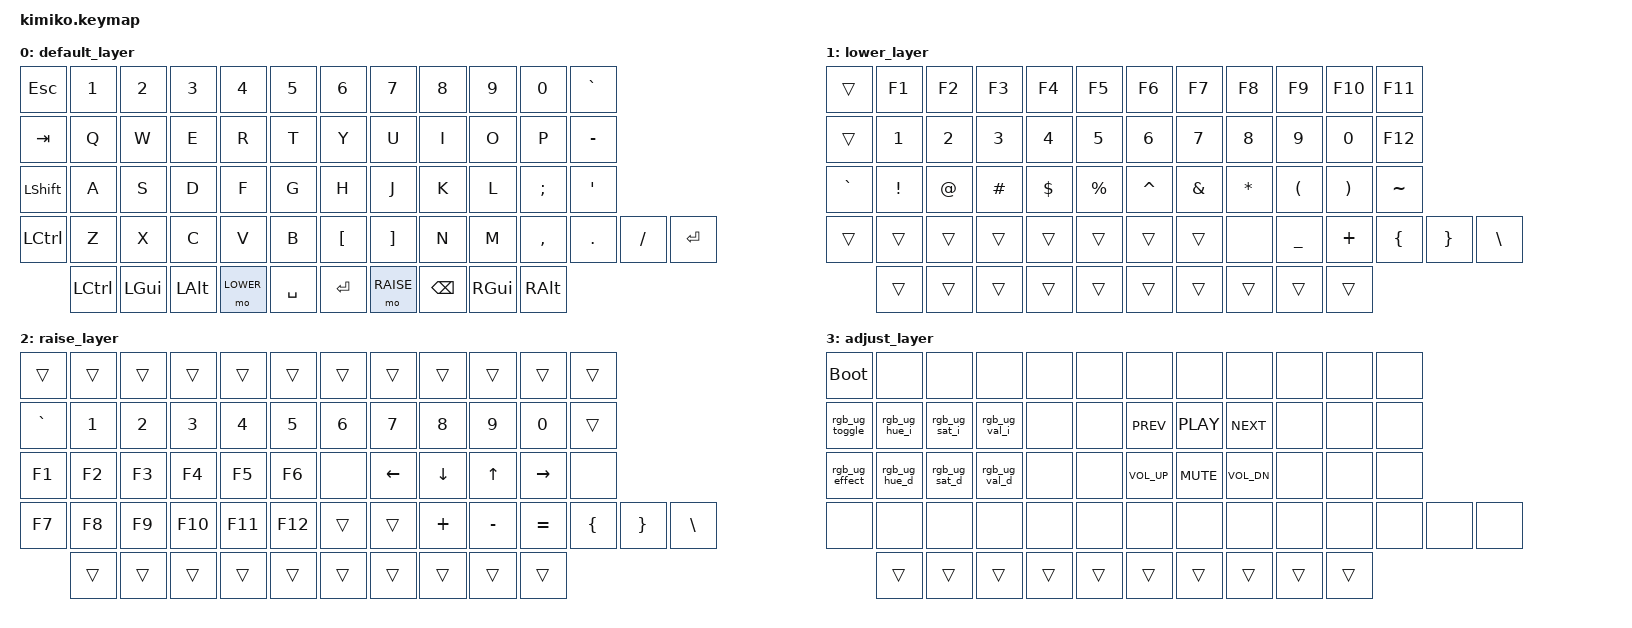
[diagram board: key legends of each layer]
// This file was generated from a template. Edit it to match your keyboard.
// See https://zmk.dev/docs/development/hardware-integration/new-shield for more instructions.

#include <behaviors.dtsi>
#include <dt-bindings/zmk/keys.h>

/ {
    
    keymap {
        compatible = "zmk,keymap";

        default_layer {
            bindings = <
                &kp ESC    &kp N1     &kp N2     &kp N3     &kp N4    &kp N5     &kp N6     &kp N7     &kp N8     &kp N9    &kp N0    &kp GRAVE
                &kp TAB    &kp Q      &kp W      &kp E      &kp R     &kp T      &kp Y      &kp U      &kp I      &kp O     &kp P     &kp MINUS
                &kp LSHIFT &kp A      &kp S      &kp D      &kp F     &kp G      &kp H      &kp J      &kp K      &kp L     &kp SEMI  &kp SQT
                &kp LCTRL  &kp Z      &kp X      &kp C      &kp V     &kp B      &kp LBKT   &kp RBKT   &kp N      &kp M     &kp COMMA &kp DOT   &kp SLASH &kp RET
                            &kp LCTRL &kp LGUI   &kp LALT   &mo LOWER &kp SPACE  &kp ENTER  &mo RAISE  &kp BSPC   &kp RGUI  &kp RALT
            >;
        };

        lower_layer {
            bindings = <
                &trans     &kp F1    &kp F2    &kp F3    &kp F4    &kp F5    &kp F6    &kp F7    &kp F8    &kp F9    &kp F10   &kp F11
                &trans     &kp N1    &kp N2    &kp N3    &kp N4    &kp N5    &kp N6    &kp N7    &kp N8    &kp N9    &kp N0    &kp F12
                &kp GRAVE  &kp EXCL  &kp AT    &kp HASH  &kp DLLR  &kp PRCNT &kp CARET &kp AMPS  &kp ASTRK &kp LPAR  &kp RPAR  &kp TILDE
                &trans     &trans    &trans    &trans    &trans    &trans    &trans    &trans    &none     &kp UNDER &kp PLUS  &kp LBRC  &kp RBRC &kp BSLH
                            &trans    &trans    &trans    &trans    &trans    &trans    &trans    &trans    &trans    &trans
            >;
        };

        raise_layer {
            bindings = <
                &trans     &trans    &trans    &trans    &trans    &trans    &trans    &trans    &trans    &trans    &trans    &trans
                &kp GRAVE  &kp N1    &kp N2    &kp N3    &kp N4    &kp N5    &kp N6    &kp N7    &kp N8    &kp N9    &kp N0    &trans
                &kp F1     &kp F2    &kp F3    &kp F4    &kp F5    &kp F6    &none     &kp LEFT  &kp DOWN  &kp UP    &kp RIGHT &none
                &kp F7     &kp F8    &kp F9    &kp F10   &kp F11   &kp F12   &trans    &trans    &kp PLUS  &kp MINUS &kp EQUAL &kp LBRC &kp RBRC &kp BSLH
                            &trans    &trans    &trans    &trans    &trans    &trans    &trans    &trans    &trans    &trans
            >;
        };

        adjust_layer {
            bindings = <
                &bootloader &none     &none     &none     &none     &none     &none     &none     &none     &none     &none     &none
                &rgb_ug_toggle &rgb_ug_hue_i &rgb_ug_sat_i &rgb_ug_val_i &none &none &kp C_PREV &kp C_PLAY &kp C_NEXT &none &none &none
                &rgb_ug_effect &rgb_ug_hue_d &rgb_ug_sat_d &rgb_ug_val_d &none &none &kp C_VOL_UP &kp C_MUTE &kp C_VOL_DN &none &none &none
                &none      &none     &none     &none     &none     &none     &none     &none     &none     &none     &none     &none &none &none
                            &trans    &trans    &trans    &trans    &trans    &trans    &trans    &trans    &trans    &trans
            >;
        };
    };
};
